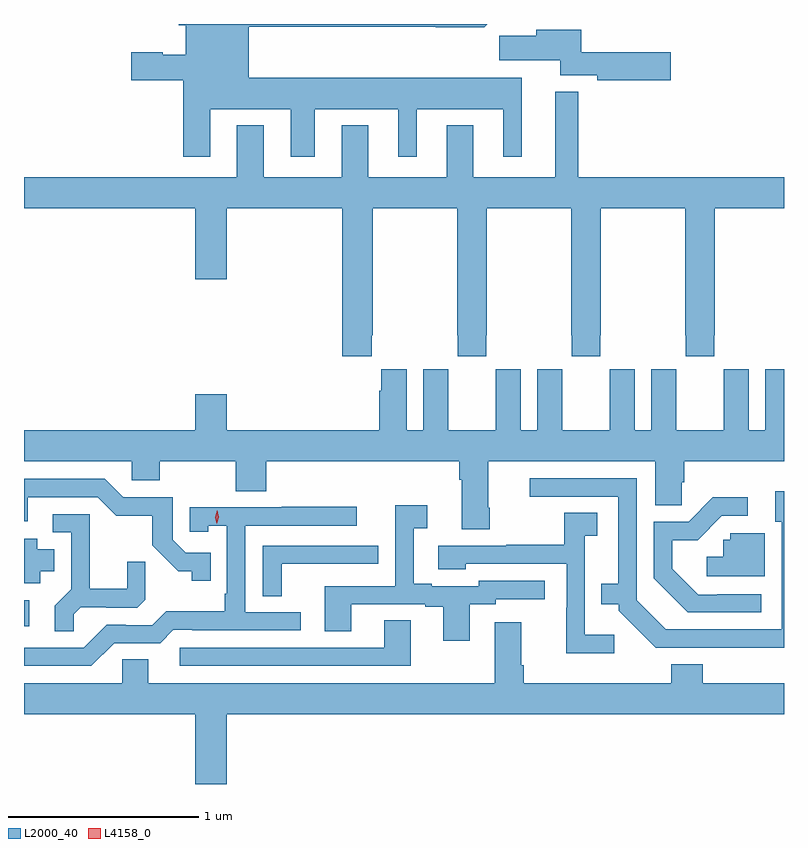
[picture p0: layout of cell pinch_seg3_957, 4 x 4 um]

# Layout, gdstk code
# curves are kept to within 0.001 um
import gdstk
lib = gdstk.Library(unit=1e-6, precision=1e-09)
def R(c, l, rs):  # rectangles x0, y0, x1, y1
    for r in rs: c.add(gdstk.rectangle(r[:2], r[2:], *l))
def P(c, l, *ps):  # polygons
    for p in ps: c.add(gdstk.Polygon(p, *l))
L2000_40 = (2000, 40)
L4158_0 = (4158, 0)

pinch_seg3_957 = lib.new_cell('pinch_seg3_957')
R(pinch_seg3_957, L2000_40, [(487.782,709.373,487.81,709.509)])
P(pinch_seg3_957, L2000_40, [(488.761,712.094),(489.185,712.094),(489.185,711.843),(489.313,711.843),(489.313,712.094),(489.752,712.094),(489.752,711.843),(489.85,711.843),(489.85,712.094),(490.304,712.094),(490.304,711.843),(490.402,711.843),(490.402,712.258),(488.965,712.258),(488.965,712.528),(489.949,712.528),(489.949,712.526),(490.205,712.526),(490.221,712.542),(488.597,712.542),(488.597,712.536),(488.633,712.536),(488.633,712.381),(488.513,712.381),(488.513,712.394),(488.346,712.394),(488.346,712.247),(488.621,712.247),(488.621,711.843),(488.761,711.843)],
  [(491.185,712.394),(490.714,712.394),(490.714,712.513),(490.478,712.513),(490.478,712.481),(490.284,712.481),(490.284,712.352),(490.604,712.352),(490.604,712.271),(490.8,712.271),(490.8,712.247),(491.185,712.247)],
  [(489.611,710.905),(489.618,710.905),(489.618,711.572),(490.063,711.572),(490.063,710.905),(490.065,710.905),(490.065,710.793),(490.215,710.793),(490.215,710.905),(490.218,710.905),(490.218,711.572),(490.663,711.572),(490.663,710.905),(490.665,710.905),(490.665,710.793),(490.815,710.793),(490.815,710.905),(490.818,710.905),(490.818,711.572),(491.263,711.572),(491.263,710.905),(491.265,710.905),(491.265,710.793),(491.415,710.793),(491.415,710.905),(491.418,710.905),(491.418,711.572),(491.782,711.572),(491.782,711.736),(490.699,711.736),(490.699,712.186),(490.577,712.186),(490.577,711.736),(490.147,711.736),(490.147,712.009),(490.007,712.009),(490.007,711.736),(489.595,711.736),(489.595,712.009),(489.455,712.009),(489.455,711.736),(489.043,711.736),(489.043,712.009),(488.903,712.009),(488.903,711.736),(487.782,711.736),(487.782,711.572),(488.684,711.572),(488.684,711.198),(488.848,711.198),(488.848,711.572),(489.458,711.572),(489.458,710.793),(489.611,710.793)],
  [(491.215,710.612),(491.214,710.612),(491.214,710.725),(491.084,710.725),(491.084,710.404),(490.996,710.404),(490.996,710.725),(490.866,710.725),(490.866,710.612),(490.865,710.612),(490.865,710.404),(490.615,710.404),(490.615,710.612),(490.614,710.612),(490.614,710.725),(490.484,710.725),(490.484,710.404),(490.396,710.404),(490.396,710.725),(490.266,710.725),(490.266,710.612),(490.265,710.612),(490.265,710.404),(490.015,710.404),(490.015,710.612),(490.014,710.612),(490.014,710.725),(489.884,710.725),(489.884,710.404),(489.796,710.404),(489.796,710.725),(489.662,710.725),(489.662,710.612),(489.653,710.612),(489.653,710.404),(488.848,710.404),(488.848,710.593),(488.684,710.593),(488.684,710.404),(487.782,710.404),(487.782,710.24),(488.349,710.24),(488.349,710.142),(488.496,710.142),(488.496,710.24),(488.896,710.24),(488.896,710.083),(489.056,710.083),(489.056,710.24),(490.073,710.24),(490.073,710.144),(490.085,710.144),(490.085,709.884),(490.233,709.884),(490.233,709.996),(490.225,709.996),(490.225,710.24),(491.105,710.24),(491.105,710.008),(491.243,710.008),(491.243,710.13),(491.258,710.13),(491.258,710.24),(491.782,710.24),(491.782,710.725),(491.684,710.725),(491.684,710.404),(491.596,710.404),(491.596,710.725),(491.466,710.725),(491.466,710.612),(491.465,710.612),(491.465,710.404),(491.215,710.404)],
  [(491.782,710.083),(491.735,710.083),(491.735,709.922),(491.769,709.922),(491.769,709.356),(491.16,709.356),(491.007,709.509),(491.007,710.151),(490.443,710.151),(490.443,710.055),(490.91,710.055),(490.91,709.597),(490.819,709.597),(490.819,709.487),(490.911,709.487),(490.911,709.455),(491.106,709.26),(491.782,709.259)],
  [(488.765,709.758),(488.634,709.758),(488.565,709.827),(488.565,710.052),(488.304,710.052),(488.208,710.148),(487.782,710.148),(487.782,709.926),(487.801,709.926),(487.801,710.052),(488.169,710.052),(488.268,709.954),(488.457,709.954),(488.457,709.798),(488.594,709.661),(488.664,709.661),(488.664,709.611),(488.765,709.611)],
  [(491.662,709.542),(491.431,709.542),(491.431,709.539),(491.331,709.539),(491.194,709.676),(491.194,709.826),(491.327,709.826),(491.454,709.953),(491.59,709.953),(491.59,710.051),(491.408,710.051),(491.28,709.923),(491.097,709.923),(491.097,709.625),(491.276,709.446),(491.662,709.446)],
  [(490.129,709.488),(490.266,709.488),(490.266,709.515),(490.522,709.515),(490.522,709.611),(490.176,709.611),(490.176,709.584),(489.928,709.584),(489.928,709.597),(489.832,709.597),(489.832,709.888),(489.904,709.888),(489.904,710.008),(489.735,710.008),(489.735,709.584),(489.365,709.584),(489.365,709.345),(489.505,709.345),(489.505,709.488),(489.893,709.488),(489.893,709.476),(489.989,709.476),(489.989,709.296),(490.129,709.296)],
  [(488.256,709.284),(488.499,709.284),(488.568,709.353),(488.668,709.353),(488.668,709.35),(489.238,709.35),(489.238,709.446),(488.946,709.446),(488.946,709.902),(489.532,709.902),(489.532,710.001),(489.139,710.001),(489.139,709.998),(488.655,709.998),(488.655,709.869),(488.751,709.869),(488.751,709.901),(488.85,709.901),(488.85,709.543),(488.838,709.543),(488.838,709.45),(488.53,709.45),(488.457,709.377),(488.318,709.377),(488.318,709.38),(488.217,709.38),(488.097,709.26),(487.782,709.26),(487.782,709.164),(488.136,709.164)],
  [(490.888,709.327),(490.734,709.327),(490.734,709.849),(490.798,709.849),(490.798,709.97),(490.626,709.97),(490.626,709.8),(490.321,709.8),(490.321,709.797),(489.963,709.797),(489.963,709.673),(490.107,709.673),(490.107,709.701),(490.638,709.701),(490.638,709.469),(490.636,709.469),(490.636,709.229),(490.888,709.229)],
  [(488.043,709.436),(488.08,709.473),(488.214,709.473),(488.214,709.47),(488.379,709.47),(488.42,709.511),(488.42,709.713),(488.326,709.713),(488.326,709.57),(488.129,709.57),(488.129,709.962),(487.932,709.962),(487.932,709.866),(488.031,709.866),(488.031,709.567),(487.945,709.481),(487.945,709.345),(488.043,709.345)],
  [(491.68,709.863),(491.499,709.863),(491.499,709.827),(491.463,709.827),(491.463,709.738),(491.376,709.738),(491.376,709.635),(491.68,709.635)],
  [(487.867,709.661),(487.942,709.661),(487.942,709.777),(487.852,709.777),(487.852,709.834),(487.782,709.834),(487.782,709.598),(487.867,709.598)],
  [(489.138,709.701),(489.533,709.701),(489.533,709.702),(489.646,709.702),(489.646,709.797),(489.039,709.797),(489.039,709.531),(489.138,709.531)],
  [(489.817,709.403),(489.677,709.403),(489.677,709.26),(488.601,709.26),(488.601,709.164),(489.817,709.164)],
  [(488.848,708.908),(491.782,708.908),(491.782,709.072),(491.354,709.072),(491.354,709.171),(491.189,709.171),(491.189,709.072),(490.412,709.072),(490.412,709.168),(490.399,709.168),(490.399,709.393),(490.259,709.393),(490.259,709.072),(488.437,709.072),(488.437,709.199),(488.298,709.199),(488.298,709.072),(487.782,709.072),(487.782,708.908),(488.684,708.908),(488.684,708.542),(488.848,708.542)])
P(pinch_seg3_957, L4158_0, [(488.797,709.911),(488.797,709.911),(488.788,709.947),(488.798,709.982),(488.798,709.983),(488.799,709.982),(488.808,709.947),(488.797,709.911)])

lib.write_gds('pinch_seg3_957.gds')
